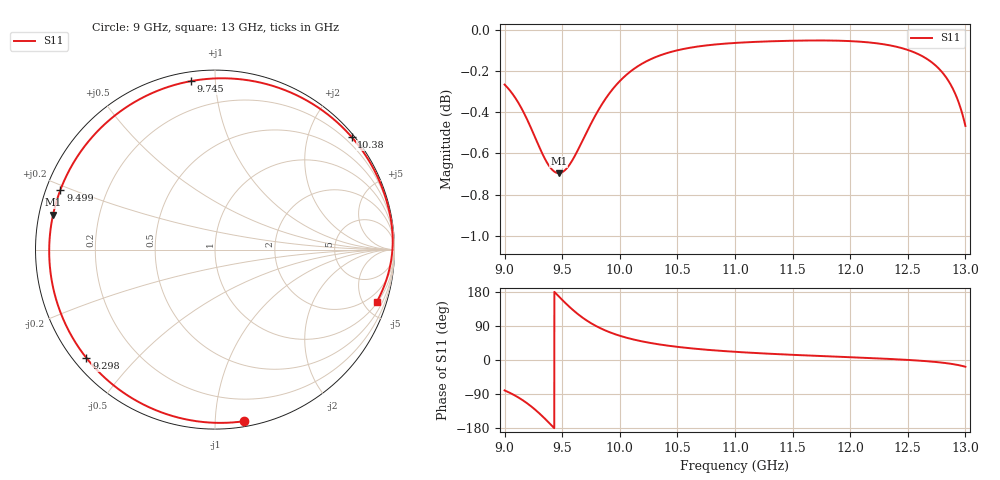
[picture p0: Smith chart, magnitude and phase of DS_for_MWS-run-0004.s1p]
! TOUCHSTONE file generated by CST DESIGN STUDIO
! Date and time: Tue Feb  4 15:57:19 2025
! Project name: C:\Work\MatlabApps\UnitCellOptimizationMatlab\CST\unitcell.cst
! Tree item: Tasks\Sweep1\SPara1\S-Parameters
! Header version: 2024
! Port assignment regex: !\s*Touchstone port\s*([0-9]+)\s*=\s*(CST MWS port|CST DES external port|CST DES block port)\s*(.+)\s* \(\"(.*)\"\)(\s*mode\s*([0-9]+))?.*
! Touchstone port assignment:
! Touchstone port 1 = CST DES external port 1 ("")
# GHz S MA R 50
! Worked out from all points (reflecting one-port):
!   4001 points, 9 GHz to 13 GHz, reference 50 ohm
!   lowest |S11| = -0.7 dB at 9.47 GHz (marker M1), VSWR 24.97, Z = 2.03 + j5.3 ohm
!   phase of S11 starts at -80 deg and turns -298 deg over the sweep
!   S11 on the Smith chart (normalised r, x): 9 GHz: 0.04, -1.19; 9.298 GHz: 0.04, -0.36; 9.499 GHz: 0.04, +0.19; 9.745 GHz: 0.05, +0.87; 10.38 GHz: 0.06, +2.78; 13 GHz: 1.09, -6.19
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9  0.9699 -80.2
9.029  0.9679 -84.2
9.093  0.9627 -94.2
9.167  0.9547 -108.1
9.234  0.9459 -123.2
9.298  0.937 -139.9
9.345  0.931 -153.4
9.388  0.9266 -166.5
9.429  0.9239 -179.3
9.47  0.923 167.9
9.499  0.9234 158.9
9.5  0.9235 158.6
9.561  0.9271 140.7
9.619  0.933 125.3
9.679  0.9402 111.3
9.745  0.9483 98.1
9.869  0.9616 78.7
10  0.9718 64.0
10.169  0.9804 50.7
10.377  0.9865 39.6
10.5  0.9887 34.7
10.722  0.9911 27.9
11  0.9928 21.6
11.5  0.994 13.6
12  0.9938 7.3
12.5  0.9889 0.2
12.797  0.9767 -6.9
13  0.9477 -17.8
